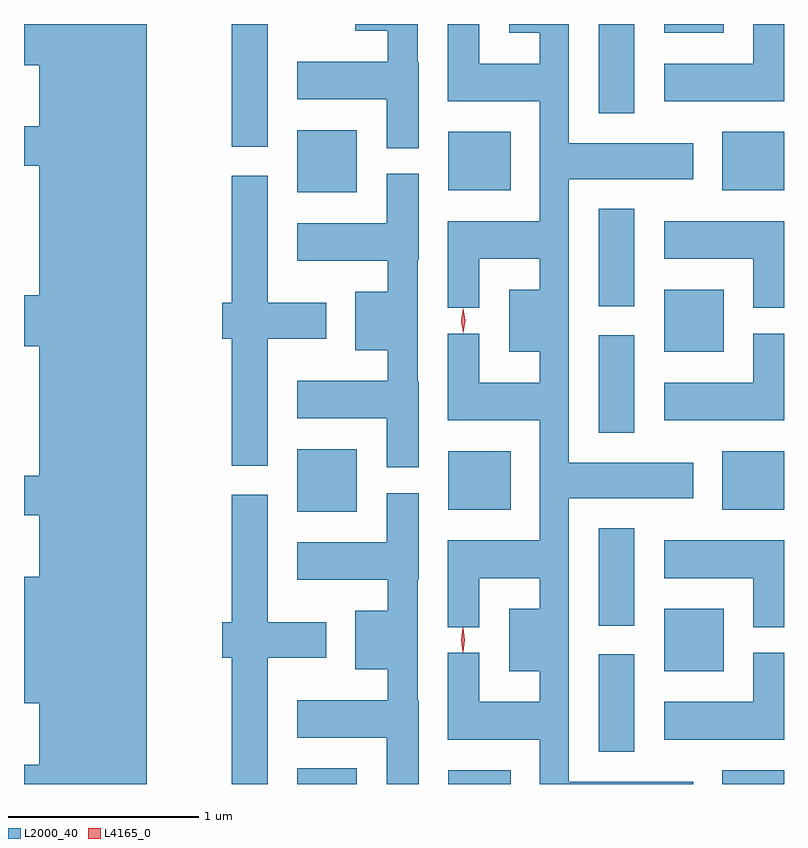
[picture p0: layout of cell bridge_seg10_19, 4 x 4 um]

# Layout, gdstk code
import gdstk
lib = gdstk.Library(unit=1e-6, precision=1e-09)
def R(c, l, rs):  # rectangles x0, y0, x1, y1
    for r in rs: c.add(gdstk.rectangle(r[:2], r[2:], *l))
def P(c, l, *ps):  # polygons
    for p in ps: c.add(gdstk.Polygon(p, *l))
L2000_40 = (2000, 40)
L4165_0 = (4165, 0)

bridge_seg10_19 = lib.new_cell('bridge_seg10_19')
R(bridge_seg10_19, L2000_40, [(1786.791,2163.372,1787.104,2163.454), (1787.586,2163.372,1787.914,2163.444), (1789.026,2163.372,1789.352,2163.444), (1788.376,2163.541,1788.564,2164.054), (1788.721,2163.966,1789.034,2164.294), (1788.376,2164.206,1788.564,2164.719), (1786.791,2164.806,1787.104,2165.134), (1787.586,2164.816,1787.914,2165.124), (1789.026,2164.816,1789.352,2165.124), (1788.376,2165.221,1788.564,2165.734), (1788.721,2165.646,1789.034,2165.974), (1788.376,2165.886,1788.564,2166.399), (1786.791,2166.486,1787.104,2166.814), (1787.586,2166.496,1787.914,2166.804), (1789.026,2166.496,1789.352,2166.804), (1786.446,2166.726,1786.634,2167.372), (1788.376,2166.901,1788.564,2167.372), (1788.721,2167.326,1789.034,2167.372)])
P(bridge_seg10_19, L2000_40, [(1787.429,2167.17),(1787.424,2167.17),(1787.424,2167.372),(1787.096,2167.372),(1787.096,2167.336),(1787.266,2167.336),(1787.266,2167.174),(1786.791,2167.174),(1786.791,2166.976),(1787.261,2166.976),(1787.261,2166.718),(1787.429,2166.718)],
  [(1785.999,2167.372),(1785.352,2167.372),(1785.352,2167.156),(1785.431,2167.156),(1785.431,2166.834),(1785.352,2166.834),(1785.352,2166.626),(1785.431,2166.626),(1785.431,2165.944),(1785.352,2165.944),(1785.352,2165.676),(1785.431,2165.676),(1785.431,2164.994),(1785.352,2164.994),(1785.352,2164.786),(1785.431,2164.786),(1785.431,2164.464),(1785.352,2164.464),(1785.352,2163.796),(1785.431,2163.796),(1785.431,2163.474),(1785.352,2163.474),(1785.352,2163.372),(1785.999,2163.372)],
  [(1789.352,2167.372),(1789.191,2167.372),(1789.191,2167.164),(1788.721,2167.164),(1788.721,2166.966),(1789.352,2166.966)],
  [(1788.874,2163.384),(1788.219,2163.384),(1788.219,2164.876),(1788.874,2164.876),(1788.874,2165.064),(1788.219,2165.064),(1788.219,2166.556),(1788.874,2166.556),(1788.874,2166.744),(1788.219,2166.744),(1788.219,2167.372),(1787.906,2167.372),(1787.906,2167.326),(1788.066,2167.326),(1788.066,2167.164),(1787.749,2167.164),(1787.749,2167.372),(1787.581,2167.372),(1787.581,2166.966),(1788.066,2166.966),(1788.066,2166.334),(1787.581,2166.334),(1787.581,2165.878),(1787.749,2165.878),(1787.749,2166.136),(1788.066,2166.136),(1788.066,2165.974),(1787.906,2165.974),(1787.906,2165.646),(1788.066,2165.646),(1788.066,2165.484),(1787.749,2165.484),(1787.749,2165.743),(1787.581,2165.743),(1787.581,2165.286),(1788.066,2165.286),(1788.066,2164.654),(1787.581,2164.654),(1787.581,2164.198),(1787.749,2164.198),(1787.749,2164.456),(1788.066,2164.456),(1788.066,2164.294),(1787.906,2164.294),(1787.906,2163.966),(1788.066,2163.966),(1788.066,2163.804),(1787.749,2163.804),(1787.749,2164.063),(1787.581,2164.063),(1787.581,2163.606),(1788.066,2163.606),(1788.066,2163.372),(1788.874,2163.372)],
  [(1787.429,2165.49),(1787.424,2165.49),(1787.424,2166.13),(1787.429,2166.13),(1787.429,2166.583),(1787.261,2166.583),(1787.261,2166.324),(1786.791,2166.324),(1786.791,2166.126),(1787.266,2166.126),(1787.266,2165.964),(1787.096,2165.964),(1787.096,2165.656),(1787.266,2165.656),(1787.266,2165.494),(1786.791,2165.494),(1786.791,2165.296),(1787.261,2165.296),(1787.261,2165.038),(1787.429,2165.038)],
  [(1786.634,2165.716),(1786.944,2165.716),(1786.944,2165.904),(1786.634,2165.904),(1786.634,2166.574),(1786.446,2166.574),(1786.446,2165.904),(1786.396,2165.904),(1786.396,2165.716),(1786.446,2165.716),(1786.446,2165.046),(1786.634,2165.046)],
  [(1789.352,2166.334),(1788.721,2166.334),(1788.721,2166.136),(1789.191,2166.136),(1789.191,2165.878),(1789.352,2165.878)],
  [(1789.352,2165.743),(1789.191,2165.743),(1789.191,2165.484),(1788.721,2165.484),(1788.721,2165.286),(1789.352,2165.286)],
  [(1787.429,2163.81),(1787.424,2163.81),(1787.424,2164.45),(1787.429,2164.45),(1787.429,2164.903),(1787.261,2164.903),(1787.261,2164.644),(1786.791,2164.644),(1786.791,2164.446),(1787.266,2164.446),(1787.266,2164.284),(1787.096,2164.284),(1787.096,2163.976),(1787.266,2163.976),(1787.266,2163.814),(1786.791,2163.814),(1786.791,2163.616),(1787.261,2163.616),(1787.261,2163.372),(1787.429,2163.372)],
  [(1786.634,2164.036),(1786.944,2164.036),(1786.944,2164.224),(1786.634,2164.224),(1786.634,2164.894),(1786.446,2164.894),(1786.446,2164.224),(1786.396,2164.224),(1786.396,2164.036),(1786.446,2164.036),(1786.446,2163.372),(1786.634,2163.372)],
  [(1789.352,2164.654),(1788.721,2164.654),(1788.721,2164.456),(1789.191,2164.456),(1789.191,2164.198),(1789.352,2164.198)],
  [(1789.352,2164.063),(1789.191,2164.063),(1789.191,2163.804),(1788.721,2163.804),(1788.721,2163.606),(1789.352,2163.606)])
P(bridge_seg10_19, L4165_0, [(1787.662,2164.064),(1787.662,2164.065),(1787.652,2164.13),(1787.662,2164.195),(1787.662,2164.196),(1787.663,2164.195),(1787.672,2164.13),(1787.663,2164.065)],
  [(1787.664,2165.744),(1787.663,2165.745),(1787.654,2165.81),(1787.663,2165.875),(1787.664,2165.876),(1787.664,2165.875),(1787.674,2165.81),(1787.664,2165.745)])

lib.write_gds('bridge_seg10_19.gds')
